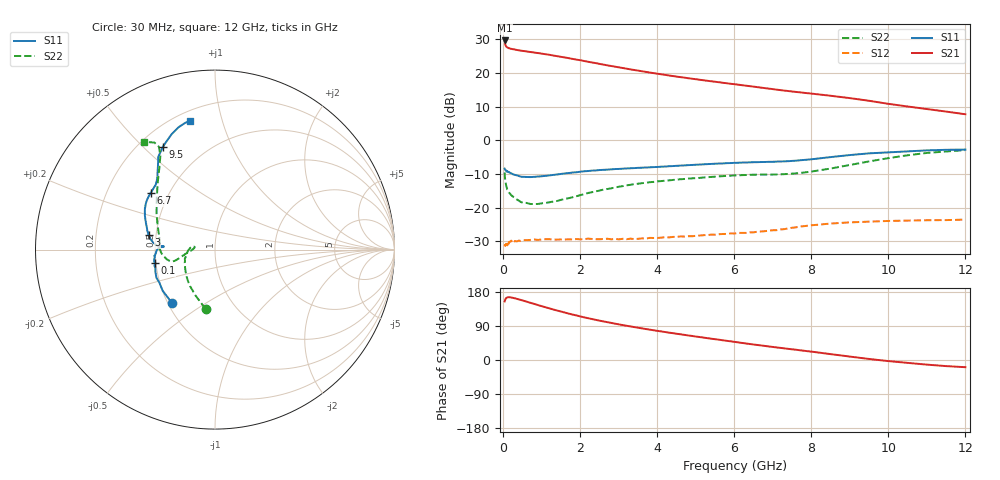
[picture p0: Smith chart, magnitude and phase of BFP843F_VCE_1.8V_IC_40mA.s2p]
! Infineon Technologies  Discrete & RF Semiconductors
! BFP843F
! VCE =  1.8 V,  IC =  40 mA
! Common Emitter S-Parameters:  Aug 2013
# GHz  S  MA  R  50
!  f  S11  S21  S12  S22
! GHz  MAG  ANG  MAG  ANG  MAG  ANG  MAG  ANG
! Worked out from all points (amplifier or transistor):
!   103 points, 30 MHz to 12 GHz, reference 50 ohm
!   highest |S21| = 29.7 dB at 30 MHz (marker M1)
!   |S21| within 3 dB of that: start of sweep to 439.6 MHz
!   unconditionally stable (mu >= 1): 87.43 MHz to end of sweep
!   at 400 MHz: K = 1.03, MAG = 27.3 dB, |S12| = -29.8 dB
!   at 3.7 GHz: K = 1.29, MAG = 21.5 dB, |S12| = -29.1 dB
!   at 12 GHz: K = 1.15, MAG = 13.3 dB, |S12| = -23.5 dB
!   S11 on the Smith chart (normalised r, x): 30 MHz: 0.53, -0.36; 100 MHz: 0.49, -0.08; 3 GHz: 0.46, +0.08; 6.7 GHz: 0.40, +0.32; 9.5 GHz: 0.29, +0.58; 12 GHz: 0.26, +0.79
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0.03  0.3815 -129.0  30.5 154.4  0.0269 25.9  0.3347 -99.0
0.04  0.3711 -141.7  27.8 156.8  0.028 21.1  0.2776 -113.1
0.05  0.3609 -148.8  26.22 160.4  0.0273 16.0  0.2463 -124.4
0.07  0.3537 -160.1  24.84 163.3  0.0292 12.8  0.2136 -138.8
0.1  0.3432 -167.3  23.99 165.1  0.0277 11.9  0.1863 -153.7
0.14  0.3402 -174.2  23.41 165.7  0.031 10.0  0.1682 -165.7
0.2  0.3246 -179.3  22.89 165.0  0.0325 8.9  0.1541 -175.3
0.9  0.2909 177.2  19.8 144.8  0.0333 5.9  0.1139 173.8
1.2  0.3026 177.4  18.64 136.1  0.0341 6.0  0.1208 178.3
1.6  0.324 175.9  17.04 125.0  0.0338 6.3  0.1354 -177.0
2.1  0.348 173.4  15.09 112.5  0.0342 8.6  0.1594 -172.7
2.5  0.3631 170.9  13.67 103.7  0.0341 9.3  0.1802 -169.6
3  0.3773 167.8  12.15 94.0  0.034 12.1  0.2055 -166.3
3.5  0.3916 164.6  10.87 85.1  0.0346 15.2  0.2278 -164.7
4.1  0.4074 160.2  9.59 75.4  0.036 17.9  0.249 -165.1
5  0.4356 153.8  8.104 61.9  0.0383 21.4  0.276 -169.2
6.1  0.4662 145.1  6.724 46.4  0.0424 24.7  0.3035 -178.5
6.7  0.4776 138.8  6.069 38.3  0.0445 27.3  0.3107 175.7
8.5  0.5654 124.2  4.603 15.5  0.0583 26.6  0.3826 148.3
9.5  0.6426 116.8  3.876 2.7  0.0622 21.8  0.4882 130.9
10.5  0.6876 110.5  3.19 -7.6  0.0645 19.2  0.6019 120.4
12  0.7312 100.9  2.446 -19.0  0.0667 19.2  0.7185 123.3
